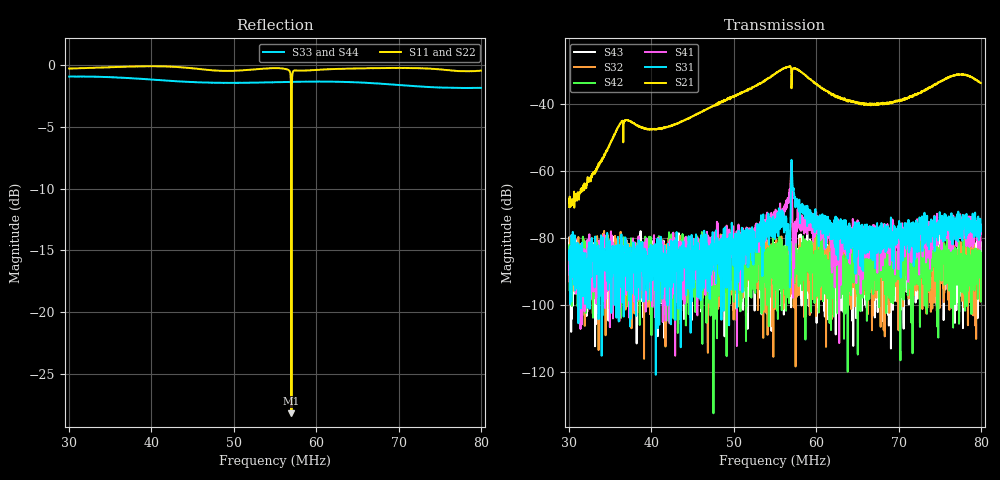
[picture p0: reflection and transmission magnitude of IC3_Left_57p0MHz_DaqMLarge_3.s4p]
#  HZ  S  DB  R  50.00
! Rohde & Schwarz Vector Network Analyzer
! Rohde-Schwarz,ZNB8-4Port,1311601044102961,2.82
! Created: UTC 2/12/2019, 1:27:04 PM
! freq[Hz]  db:S11  ang:S11  db:S12  ang:S12  db:S13  ang:S13  db:S14  ang:S14
!  db:S21  ang:S21  db:S22  ang:S22  db:S23  ang:S23  db:S24  ang:S24
!  db:S31  ang:S31  db:S32  ang:S32  db:S33  ang:S33  db:S34  ang:S34
!  db:S41  ang:S41  db:S42  ang:S42  db:S43  ang:S43  db:S44  ang:S44
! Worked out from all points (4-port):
!   2001 points, 30 MHz to 80 MHz, reference 50 ohm
!   strongest paths, dB at 30 MHz, 42.5 MHz, 55 MHz, 67.5 MHz, 80 MHz:
!     S21: -70.7, -46.2, -31.0, -40.1, -33.6
!     S31: -86.1, -87.2, -80.3, -83.0, -76.3
!     S41: -83.7, -97.9, -73.4, -78.7, -77.9
!     S42: -87.6, -85.4, -91.6, -85.2, -98.9
!     S32: -86.8, -101.6, -93.2, -95.5, -97.5
!     S43: -79.8, -98.4, -81.4, -89.4, -81.2
!   lowest |S11| = -28.2 dB at 57 MHz (marker M1), VSWR 1.08, Z = 54 - j0.819 ohm
!   |S11| at or under -10 dB: 56.97997 MHz to 57.01946 MHz (39.49 kHz wide, 0.0693 % of centre)
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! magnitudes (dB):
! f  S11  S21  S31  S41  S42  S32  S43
! 30 MHz  -0.3  -70.7  -86.1  -83.7  -87.6  -86.8  -79.8
! 36.27 MHz  -0.1  -45.5  -81.9  -82.2  -87.7  -84.6  -86.0
! 56.62 MHz  -0.4  -28.8  -82.1  -68.8  -85.8  -93.1  -88.2
! 57 MHz  -28.2  -35.2  -56.6  -57.4  -83.5  -85.3  -87.8
! 57.38 MHz  -0.4  -29.3  -67.8  -75.5  -79.7  -90.9  -83.1
! 66.05 MHz  -0.3  -39.8  -79.8  -78.6  -88.7  -84.5  -87.5
! 80 MHz  -0.4  -33.6  -76.3  -77.9  -98.9  -97.5  -81.2
